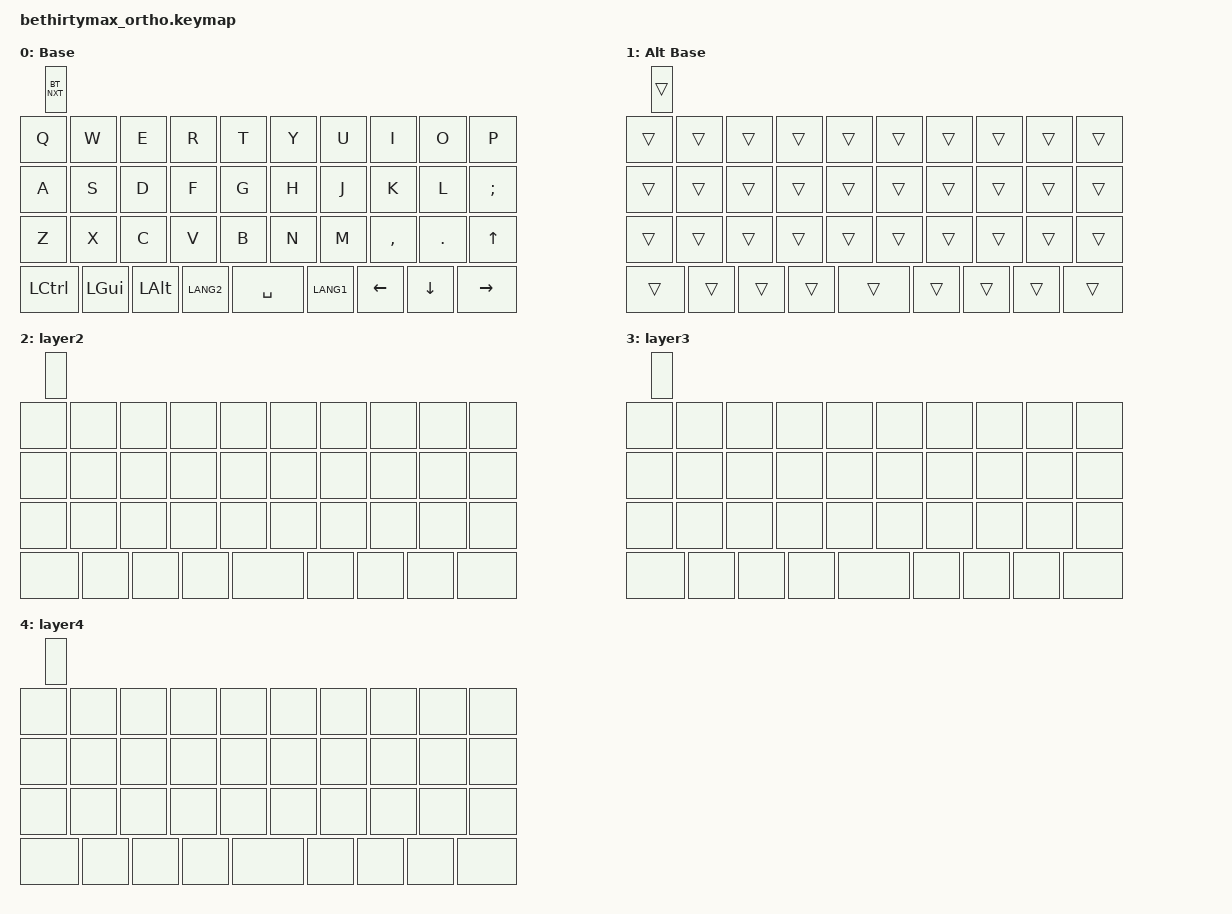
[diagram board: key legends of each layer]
#include <behaviors.dtsi>
#include <behaviors/runtime_macro.dtsi>
#include <dt-bindings/zmk/bt.h>
#include <behaviors/runtime_tap_dance.dtsi>
#include <dt-bindings/zmk/keys.h>
#include <dt-bindings/zmk/pointing.h>

/ {
    behaviors {
        /* --- タップ/ホールドの判定時間プリセット ---
           押している時間がここで指定した ms を超えたら「ホールド」、
           それより短ければ「タップ」と判定される。
           数値ちがいのインスタンスを並べて定義しておくと、Keeb-On! Studio の
           キー割り当て候補にそのまま並び、キーごとに好みの速さを選べる。
           値そのものはコンパイル時固定だが、ファームウェアはタグを打てば
           GitHub Releases から配布されるので、合わなければ数値を変えて再配布する。

           flavor は ZMK 標準に合わせてある:
             mod-tap 系   = hold-preferred (ZMK の &mt と同じ)
             layer-tap 系 = tap-preferred  (ZMK の &lt と同じ)
           なので mt_mid / lt_mid は標準の &mt / &lt と完全に同じ挙動になる。 */

        mt_fast: mod_tap_fast {
            compatible = "zmk,behavior-hold-tap";
            #binding-cells = <2>;
            flavor = "hold-preferred";
            tapping-term-ms = <150>;
            bindings = <&kp>, <&kp>;
            display-name = "Mod-Tap 150ms";
        };

        mt_mid: mod_tap_mid {
            compatible = "zmk,behavior-hold-tap";
            #binding-cells = <2>;
            flavor = "hold-preferred";
            tapping-term-ms = <200>;
            bindings = <&kp>, <&kp>;
            display-name = "Mod-Tap 200ms";
        };

        mt_slow: mod_tap_slow {
            compatible = "zmk,behavior-hold-tap";
            #binding-cells = <2>;
            flavor = "hold-preferred";
            tapping-term-ms = <280>;
            bindings = <&kp>, <&kp>;
            display-name = "Mod-Tap 280ms";
        };

        lt_fast: layer_tap_fast {
            compatible = "zmk,behavior-hold-tap";
            #binding-cells = <2>;
            flavor = "tap-preferred";
            tapping-term-ms = <150>;
            bindings = <&mo>, <&kp>;
            display-name = "Layer-Tap 150ms";
        };

        lt_mid: layer_tap_mid {
            compatible = "zmk,behavior-hold-tap";
            #binding-cells = <2>;
            flavor = "tap-preferred";
            tapping-term-ms = <200>;
            bindings = <&mo>, <&kp>;
            display-name = "Layer-Tap 200ms";
        };

        lt_slow: layer_tap_slow {
            compatible = "zmk,behavior-hold-tap";
            #binding-cells = <2>;
            flavor = "tap-preferred";
            tapping-term-ms = <280>;
            bindings = <&mo>, <&kp>;
            display-name = "Layer-Tap 280ms";
        };
    };

    keymap {
        compatible = "zmk,keymap";

        default_layer {
            display-name = "Base";
            // Layer 0: Vial 版 BeThirty Ortho の multi-os デフォルトと同じ 39 キー
            // (QWERTY、; と矢印、親指の修飾キーと 英数/かな)に、一番上の小さい
            // キーで Bluetooth のプロファイル送り(&bt BT_NXT)を足したもの。
            // 30% なので数字・記号・Enter・Backspace はレイヤーに置く前提。
            // キーマップ道場(30% ガイド)で組み立てるか、アプリで直接割り当てる。

            bindings = <
&bt BT_NXT  &kp Q  &kp W  &kp E  &kp R  &kp T  &kp Y  &kp U  &kp I  &kp O  &kp P  &kp A  &kp S  &kp D  &kp F  &kp G  &kp H  &kp J  &kp K  &kp L  &kp SEMI  &kp Z  &kp X  &kp C  &kp V  &kp B  &kp N  &kp M  &kp COMMA  &kp DOT  &kp UP  &kp LCTRL  &kp LGUI  &kp LALT  &kp LANG2  &kp SPACE  &kp LANG1  &kp LEFT  &kp DOWN  &kp RIGHT
            >;
        };

        alt_base_layer {
            display-name = "Alt Base";
            // Layer 1: もう一方のOS用のベース。OS検出がデフォルトレイヤーを
            // 0 と 1 で切り替える (CONFIG_ZMK_DEFAULT_LAYER_OS_DETECTION)。
            //
            // ここが「デフォルトレイヤー」になったときは、これより下の
            // レイヤーは参照されない: zmk_keymap_position_state_changed() の
            // 走査はデフォルトレイヤーで止まる。つまり &trans のままだと
            // 切り替えた瞬間に全キーが無反応になる。
            // Keeb-On! Studio の「Baseからコピー」で埋めてから使うこと。
            //
            // 位置は 1 でなければならない。&lt_mid で押さえるレイヤーは
            // デフォルトより上(番号が大きい)である必要があるため。

            bindings = <
&trans  &trans  &trans  &trans  &trans  &trans  &trans  &trans  &trans  &trans  &trans  &trans  &trans  &trans  &trans  &trans  &trans  &trans  &trans  &trans  &trans  &trans  &trans  &trans  &trans  &trans  &trans  &trans  &trans  &trans  &trans  &trans  &trans  &trans  &trans  &trans  &trans  &trans  &trans  &trans
            >;
        };

        layer2 {
            // Layer 2: 空。ビルド後に Keeb-On! Studio から自由に割り当てる。

            bindings = <
&none  &none  &none  &none  &none  &none  &none  &none  &none  &none  &none  &none  &none  &none  &none  &none  &none  &none  &none  &none  &none  &none  &none  &none  &none  &none  &none  &none  &none  &none  &none  &none  &none  &none  &none  &none  &none  &none  &none  &none
            >;
        };

        layer3 {
            // Layer 3: 空。Keeb-On! Studio から割り当てる。

            bindings = <
&none  &none  &none  &none  &none  &none  &none  &none  &none  &none  &none  &none  &none  &none  &none  &none  &none  &none  &none  &none  &none  &none  &none  &none  &none  &none  &none  &none  &none  &none  &none  &none  &none  &none  &none  &none  &none  &none  &none  &none
            >;
        };

        layer4 {
            // Layer 4: 空。Keeb-On! Studio から割り当てる。

            bindings = <
&none  &none  &none  &none  &none  &none  &none  &none  &none  &none  &none  &none  &none  &none  &none  &none  &none  &none  &none  &none  &none  &none  &none  &none  &none  &none  &none  &none  &none  &none  &none  &none  &none  &none  &none  &none  &none  &none  &none  &none
            >;
        };
    };
};
